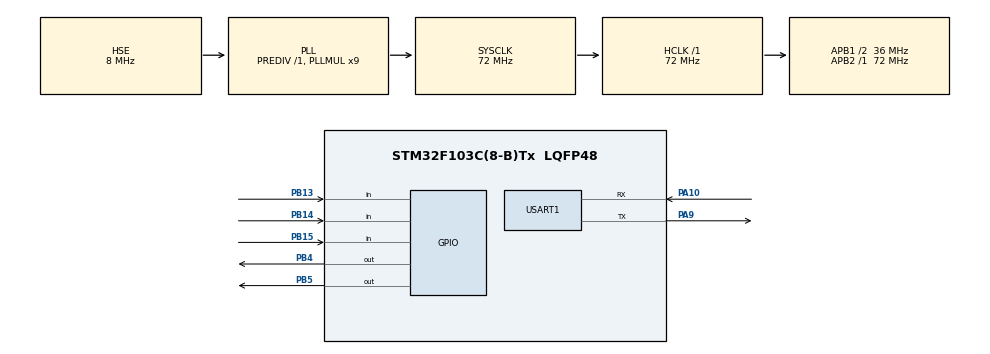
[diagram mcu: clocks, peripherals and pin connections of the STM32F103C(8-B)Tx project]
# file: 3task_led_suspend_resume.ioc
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FREERTOS.Tasks01=defaultTask,0,128,StartDefaultTask,Default,NULL,Dynamic,NULL,NULL
Mcu.Family=STM32F1
Mcu.Name=STM32F103C(8-B)Tx
Mcu.Package=LQFP48
NVIC.PriorityGroup=NVIC_PRIORITYGROUP_4
NVIC.TIM1_UP_IRQn=true\:15\:0\:false\:false\:true\:false\:false\:true\:true
NVIC.TimeBase=TIM1_UP_IRQn
NVIC.TimeBaseIP=TIM1
PA10.Mode=Asynchronous
PA10.Signal=USART1_RX
PA13.Mode=Serial_Wire
PA13.Signal=SYS_JTMS-SWDIO
PA14.Mode=Serial_Wire
PA14.Signal=SYS_JTCK-SWCLK
PA9.Mode=Asynchronous
PA9.Signal=USART1_TX
PB13.Signal=GPIO_Input
PB14.Signal=GPIO_Input
PB15.Signal=GPIO_Input
PB4.Signal=GPIO_Output
PB5.Signal=GPIO_Output
PD0-OSC_IN.Mode=HSE-External-Oscillator
PD0-OSC_IN.Signal=RCC_OSC_IN
PD1-OSC_OUT.Mode=HSE-External-Oscillator
PD1-OSC_OUT.Signal=RCC_OSC_OUT
ProjectManager.HeapSize=0x200
ProjectManager.StackSize=0x400
ProjectManager.TargetToolchain=MDK-ARM V5
RCC.AHBFreq_Value=72000000
RCC.APB1CLKDivider=RCC_HCLK_DIV2
RCC.APB1Freq_Value=36000000
RCC.APB1TimFreq_Value=72000000
RCC.APB2Freq_Value=72000000
RCC.APB2TimFreq_Value=72000000
RCC.HCLKFreq_Value=72000000
RCC.PLLMUL=RCC_PLL_MUL9
RCC.PLLSourceVirtual=RCC_PLLSOURCE_HSE
RCC.SYSCLKFreq_VALUE=72000000
RCC.SYSCLKSource=RCC_SYSCLKSOURCE_PLLCLK
RCC.USBFreq_Value=72000000
USART1.VirtualMode=VM_ASYNC
VP_FREERTOS_VS_CMSIS_V1.Mode=CMSIS_V1
VP_SYS_VS_tim1.Mode=TIM1
board=custom

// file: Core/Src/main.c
/* USER CODE BEGIN Header */
/**
  ******************************************************************************
  * @file           : main.c
  * @brief          : Main program body
  ******************************************************************************
  * @attention
  *
  * Copyright (c) 2022 STMicroelectronics.
  * All rights reserved.
  *
  * This software is licensed under terms that can be found in the LICENSE file
  * in the root directory of this software component.
  * If no LICENSE file comes with this software, it is provided AS-IS.
  *
  ******************************************************************************
  */
/* USER CODE END Header */
#include "main.h"
//#include "cmsis_os.h"

/* USER CODE BEGIN Includes */

#include "FreeRTOS.h"
#include "task.h"
#include "timers.h"
#include "queue.h"
#include "semphr.h"
#include "event_groups.h"

#include <stdio.h>
/* USER CODE END Includes */

UART_HandleTypeDef huart1;

void SystemClock_Config(void);
static void MX_GPIO_Init(void);
static void MX_USART1_UART_Init(void);

/* USER CODE BEGIN PFP */
void seteup()
{

}
/* USER CODE END PFP */

/* USER CODE BEGIN 0 */
TaskHandle_t Task_1Handler;
void Task_1 (void *pvParameters);

TaskHandle_t Task_2Handler;
void Task_2 (void *pvParameters);

TaskHandle_t Task_3Handler;
void Task_3 (void *pvParameters);
/* USER CODE END 0 */

int main(void)
{

  /* MCU Configuration--------------------------------------------------------*/

  /* Reset of all peripherals, Initializes the Flash interface and the Systick. */
  HAL_Init();

  /* Configure the system clock */
  SystemClock_Config();

  /* Initialize all configured peripherals */
  MX_GPIO_Init();
  MX_USART1_UART_Init();
  /* USER CODE BEGIN 2 */
  xTaskCreate(Task_1,"Task1",128,NULL,1,&Task_1Handler);
  xTaskCreate(Task_2,"Task2",128,NULL,1,&Task_2Handler);
  xTaskCreate(Task_3,"Task3",128,NULL,1,&Task_3Handler);

  vTaskStartScheduler();
  /* USER CODE END 2 */

  while (1)
  {

  }
}

void SystemClock_Config(void)
{
  RCC_OscInitTypeDef RCC_OscInitStruct = {0};
  RCC_ClkInitTypeDef RCC_ClkInitStruct = {0};

  /** Initializes the RCC Oscillators according to the specified parameters
  * in the RCC_OscInitTypeDef structure.
  */
  RCC_OscInitStruct.OscillatorType = RCC_OSCILLATORTYPE_HSE;
  RCC_OscInitStruct.HSEState = RCC_HSE_ON;
  RCC_OscInitStruct.HSEPredivValue = RCC_HSE_PREDIV_DIV1;
  RCC_OscInitStruct.HSIState = RCC_HSI_ON;
  RCC_OscInitStruct.PLL.PLLState = RCC_PLL_ON;
  RCC_OscInitStruct.PLL.PLLSource = RCC_PLLSOURCE_HSE;
  RCC_OscInitStruct.PLL.PLLMUL = RCC_PLL_MUL9;
  if (HAL_RCC_OscConfig(&RCC_OscInitStruct) != HAL_OK)
  {
    Error_Handler();
  }

  /** Initializes the CPU, AHB and APB buses clocks
  */
  RCC_ClkInitStruct.ClockType = RCC_CLOCKTYPE_HCLK|RCC_CLOCKTYPE_SYSCLK
                              |RCC_CLOCKTYPE_PCLK1|RCC_CLOCKTYPE_PCLK2;
  RCC_ClkInitStruct.SYSCLKSource = RCC_SYSCLKSOURCE_PLLCLK;
  RCC_ClkInitStruct.AHBCLKDivider = RCC_SYSCLK_DIV1;
  RCC_ClkInitStruct.APB1CLKDivider = RCC_HCLK_DIV2;
  RCC_ClkInitStruct.APB2CLKDivider = RCC_HCLK_DIV1;

  if (HAL_RCC_ClockConfig(&RCC_ClkInitStruct, FLASH_LATENCY_2) != HAL_OK)
  {
    Error_Handler();
  }
}

static void MX_USART1_UART_Init(void)
{

  huart1.Instance = USART1;
  huart1.Init.BaudRate = 115200;
  huart1.Init.WordLength = UART_WORDLENGTH_8B;
  huart1.Init.StopBits = UART_STOPBITS_1;
  huart1.Init.Parity = UART_PARITY_NONE;
  huart1.Init.Mode = UART_MODE_TX_RX;
  huart1.Init.HwFlowCtl = UART_HWCONTROL_NONE;
  huart1.Init.OverSampling = UART_OVERSAMPLING_16;
  if (HAL_UART_Init(&huart1) != HAL_OK)
  {
    Error_Handler();
  }

}

static void MX_GPIO_Init(void)
{
  GPIO_InitTypeDef GPIO_InitStruct = {0};

  /* GPIO Ports Clock Enable */
  __HAL_RCC_GPIOD_CLK_ENABLE();
  __HAL_RCC_GPIOB_CLK_ENABLE();
  __HAL_RCC_GPIOA_CLK_ENABLE();

  /*Configure GPIO pin Output Level */
  HAL_GPIO_WritePin(GPIOB, GPIO_PIN_4|GPIO_PIN_5, GPIO_PIN_RESET);

  /*Configure GPIO pins : PB13 PB14 PB15 */
  GPIO_InitStruct.Pin = GPIO_PIN_13|GPIO_PIN_14|GPIO_PIN_15;
  GPIO_InitStruct.Mode = GPIO_MODE_INPUT;
  GPIO_InitStruct.Pull = GPIO_PULLUP;
  HAL_GPIO_Init(GPIOB, &GPIO_InitStruct);

  /*Configure GPIO pins : PB4 PB5 */
  GPIO_InitStruct.Pin = GPIO_PIN_4|GPIO_PIN_5;
  GPIO_InitStruct.Mode = GPIO_MODE_OUTPUT_PP;
  GPIO_InitStruct.Pull = GPIO_NOPULL;
  GPIO_InitStruct.Speed = GPIO_SPEED_FREQ_LOW;
  HAL_GPIO_Init(GPIOB, &GPIO_InitStruct);

}

/* USER CODE BEGIN 4 */

void Task_1 (void *pvParameters)
{
    while (1)
    {
      HAL_GPIO_TogglePin(GPIOB,GPIO_PIN_4);
      HAL_Delay(500);
    }

}

void Task_2 (void *pvParameters)
{
    while (1)
    {

      if(HAL_GPIO_ReadPin(GPIOB,GPIO_PIN_14)==0){
      HAL_Delay(100);
      HAL_GPIO_WritePin(GPIOB,GPIO_PIN_5,1);
      }
      if(HAL_GPIO_ReadPin(GPIOB,GPIO_PIN_15)==0){
      HAL_Delay(100);
      HAL_GPIO_WritePin(GPIOB,GPIO_PIN_5,0);
      }
    }
}
int lock=0;
void Task_3 (void *pvParameters)
{

    while (1)
    {
      printf("task3 run \n");
		 if(HAL_GPIO_ReadPin(GPIOB,GPIO_PIN_13)==0)
     {
			 HAL_Delay(100);
			 while(HAL_GPIO_ReadPin(GPIOB,GPIO_PIN_13)==0){};
       lock=!lock;
     }
			if(lock==1)
			vTaskSuspend(Task_1Handler);
			else
			vTaskResume(Task_1Handler);
		}
}

// PRINT DEBUG:
struct __FILE{
  int handle;
  /* Whatever you require here. If the only file you are using is */
  /* standard output using printf() for debugging, no file handling */
  /* is required. */
};

FILE __stdout;

int fputc(int ch, FILE *f){
	HAL_UART_Transmit(&huart1, (uint8_t *)&ch, 1, 0xFFFF);
  return ch;
}

int ferror(FILE *f){
  /* Your implementation of ferror(). */
  return 0;
}
/* USER CODE END 4 */

void HAL_TIM_PeriodElapsedCallback(TIM_HandleTypeDef *htim)
{
  if (htim->Instance == TIM1) {
    HAL_IncTick();
  }
}

void Error_Handler(void)
{
  __disable_irq();
  while (1)
  {
  }
}
